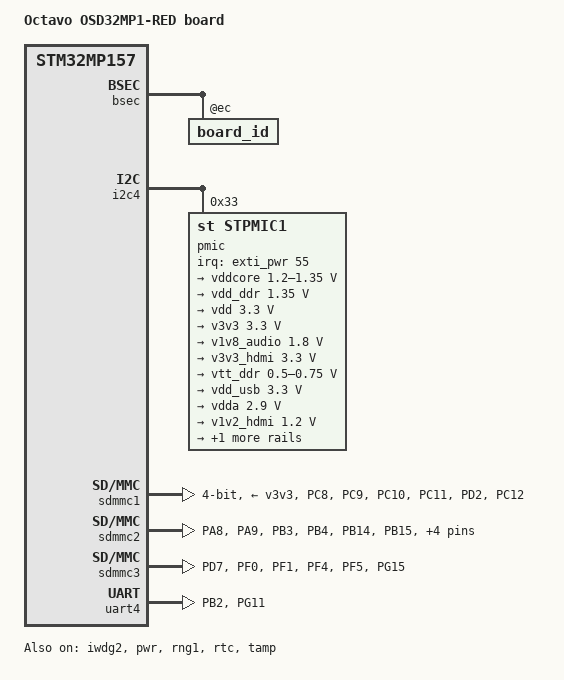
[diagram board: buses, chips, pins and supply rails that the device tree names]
/* SPDX-License-Identifier: (GPL-2.0+ OR BSD-3-Clause) */
/*
 * Copyright (C) STMicroelectronics 2020 - All Rights Reserved
 * Author: STM32CubeMX code generation for STMicroelectronics.
 */

/* For more information on Device Tree configuration, please refer to
 * https://wiki.st.com/stm32mpu/wiki/Category:Device_tree_configuration
 */

/dts-v1/;
#include <dt-bindings/clock/stm32mp1-clksrc.h>
#include "stm32mp15-osd32mp1-ddr3-1x4Gb-1066-binG.dtsi"

#include "stm32mp157c.dtsi"
#include "stm32mp157cac-pinctrl.dtsi"
#include "stm32mp15-ddr.dtsi"
#include "stm32mp157c-security.dtsi"
#include <dt-bindings/power/stm32mp1-power.h>


/ {
	model = "Octavo OSD32MP1-RED board";
	compatible = "octavo,osd32mp1-red", "st,stm32mp157";


	chosen {
		stdout-path = "serial0:115200n8";
	};

	aliases {
		serial0 = &uart4;
		serial1 = &usart3;
		serial2 = &uart7;
		gpio0 = &gpioa;
		gpio1 = &gpiob;
		gpio2 = &gpioc;
		gpio3 = &gpiod;
		gpio4 = &gpioe;
		gpio5 = &gpiof;
		gpio6 = &gpiog;
		gpio7 = &gpioh;
		gpio8 = &gpioi;
		gpio25 = &gpioz;
		i2c3 = &i2c4;
	};


	clocks {



		clk_lse: clk-lse {
			st,drive = < LSEDRV_MEDIUM_HIGH >;



		};

		clk_hse: clk-hse {
			st,digbypass;



		};
	};

}; /*root*/

&pinctrl {
	sdmmc1_pins_mx: sdmmc1_mx-0 {
		pins1 {
			pinmux = <STM32_PINMUX('C', 8, AF12)>, /* SDMMC1_D0 */
					 <STM32_PINMUX('C', 9, AF12)>, /* SDMMC1_D1 */
					 <STM32_PINMUX('C', 10, AF12)>, /* SDMMC1_D2 */
					 <STM32_PINMUX('C', 11, AF12)>, /* SDMMC1_D3 */
					 <STM32_PINMUX('D', 2, AF12)>; /* SDMMC1_CMD */
			bias-disable;
			drive-push-pull;
			slew-rate = <1>;
		};
		pins2 {
			pinmux = <STM32_PINMUX('C', 12, AF12)>; /* SDMMC1_CK */
			bias-disable;
			drive-push-pull;
			slew-rate = <3>;
		};
	};

	sdmmc2_pins_mx: sdmmc2_mx-0 {
		pins1 {
			pinmux = <STM32_PINMUX('A', 8, AF9)>, /* SDMMC2_D4 */
					 <STM32_PINMUX('A', 9, AF10)>, /* SDMMC2_D5 */
					 <STM32_PINMUX('B', 3, AF9)>, /* SDMMC2_D2 */
					 <STM32_PINMUX('B', 4, AF9)>, /* SDMMC2_D3 */
					 <STM32_PINMUX('B', 14, AF9)>, /* SDMMC2_D0 */
					 <STM32_PINMUX('B', 15, AF9)>, /* SDMMC2_D1 */
					 <STM32_PINMUX('C', 7, AF10)>, /* SDMMC2_D7 */
					 <STM32_PINMUX('E', 5, AF9)>, /* SDMMC2_D6 */
					 <STM32_PINMUX('G', 6, AF10)>; /* SDMMC2_CMD */
			bias-pull-up;
			drive-push-pull;
			slew-rate = <1>;
		};
		pins2 {
			pinmux = <STM32_PINMUX('E', 3, AF9)>; /* SDMMC2_CK */
			bias-pull-up;
			drive-push-pull;
			slew-rate = <2>;
		};
	};

	sdmmc3_pins_mx: sdmmc3_mx-0 {
		pins1 {
			pinmux = <STM32_PINMUX('D', 7, AF10)>, /* SDMMC3_D3 */
					 <STM32_PINMUX('F', 0, AF9)>, /* SDMMC3_D0 */
					 <STM32_PINMUX('F', 1, AF9)>, /* SDMMC3_CMD */
					 <STM32_PINMUX('F', 4, AF9)>, /* SDMMC3_D1 */
					 <STM32_PINMUX('F', 5, AF9)>; /* SDMMC3_D2 */
			bias-disable;
			drive-push-pull;
			slew-rate = <1>;
		};
		pins2 {
			pinmux = <STM32_PINMUX('G', 15, AF10)>; /* SDMMC3_CK */
			bias-disable;
			drive-push-pull;
			slew-rate = <2>;
		};
	};

	uart4_pins_mx: uart4_mx-0 {
		pins1 {
			pinmux = <STM32_PINMUX('B', 2, AF8)>; /* UART4_RX */
			bias-disable;
		};
		pins2 {
			pinmux = <STM32_PINMUX('G', 11, AF6)>; /* UART4_TX */
			bias-disable;
			drive-push-pull;
			slew-rate = <0>;
		};
	};



};

&pinctrl_z {
	i2c4_pins_z_mx: i2c4_mx-0 {
		pins {
			pinmux = <STM32_PINMUX('Z', 4, AF6)>, /* I2C4_SCL */
			         <STM32_PINMUX('Z', 5, AF6)>; /* I2C4_SDA */
			bias-disable;
			drive-open-drain;
			slew-rate = <0>;
		};
	};



};

&rcc {
	st,csi-cal;
	st,hsi-cal;
	st,cal-sec = <60>;
	st,clksrc = <
		CLK_MPU_PLL1P
		CLK_AXI_PLL2P
		CLK_MCU_PLL3P
		CLK_PLL12_HSE
		CLK_PLL3_HSE
		CLK_PLL4_HSE
		CLK_RTC_LSE
		CLK_MCO1_DISABLED
		CLK_MCO2_DISABLED
	>;
	st,clkdiv = <
		1 		/*MPU*/
		0 		/*AXI*/
		0 		/*MCU*/
		1 		/*APB1*/
		1 		/*APB2*/
		1 		/*APB3*/
		1 		/*APB4*/
		2 		/*APB5*/
		23 		/*RTC*/
		0 		/*MCO1*/
		0 		/*MCO2*/
	>;
	st,pkcs = <
		CLK_CKPER_HSE
		CLK_ETH_PLL3Q
		CLK_SDMMC12_PLL4P
		CLK_DSI_DSIPLL
		CLK_STGEN_HSE
		CLK_USBPHY_HSE
		CLK_SPI2S1_DISABLED
		CLK_SPI2S23_PLL3Q
		CLK_SPI45_PCLK2
		CLK_SPI6_DISABLED
		CLK_I2C46_HSI
		CLK_SDMMC3_PLL4P
                CLK_USBO_USBPHY
		CLK_ADC_CKPER
		CLK_CEC_DISABLED
		CLK_I2C12_HSI
		CLK_I2C35_PCLK1
		CLK_UART1_DISABLED
		CLK_UART24_HSI
		CLK_UART35_HSI
		CLK_UART6_DISABLED
		CLK_UART78_DISABLED
		CLK_SPDIF_DISABLED
		CLK_SAI1_DISABLED
		CLK_SAI2_CKPER
		CLK_SAI3_DISABLED
		CLK_SAI4_DISABLED
		CLK_RNG1_LSI
		CLK_LPTIM1_DISABLED
		CLK_LPTIM23_DISABLED
		CLK_LPTIM45_DISABLED
	>;
	pll1:st,pll@0 {
		cfg = < 2 80 0 1 1 PQR(1,0,0) >;
		frac = < 0x800>;
	};
	pll2:st,pll@1 {
		cfg = < 2 65 1 0 0 PQR(1,1,1) >;
		frac = < 0x1400>;
	};
	pll3:st,pll@2 {
		cfg = < 1 61 3 5 36 PQR(1,1,0) >;
		frac = < 0x1000 >;
	};
	/* VCO = 594.0 MHz => P = 99, Q = 74, R = 74 */
	pll4: st,pll@3 {
		cfg = < 3 98 5 7 7 PQR(1,1,1) >;
	};
};

&bsec{
	status = "okay";
	secure-status = "okay";


	board_id: board_id@ec {
		reg = <0xec 0x4>;
		status = "okay";
		secure-status = "okay";
	};

};

&etzpc{
	st,decprot = <
	/*"Non Secured" peripherals*/
	DECPROT(STM32MP1_ETZPC_DCMI_ID, DECPROT_NS_RW, DECPROT_UNLOCK)
	DECPROT(STM32MP1_ETZPC_ETH_ID, DECPROT_NS_RW, DECPROT_UNLOCK)
	DECPROT(STM32MP1_ETZPC_I2C1_ID, DECPROT_NS_RW, DECPROT_UNLOCK)
	DECPROT(STM32MP1_ETZPC_I2C2_ID, DECPROT_NS_RW, DECPROT_UNLOCK)
	DECPROT(STM32MP1_ETZPC_I2C4_ID, DECPROT_NS_RW, DECPROT_UNLOCK)
	DECPROT(STM32MP1_ETZPC_I2C5_ID, DECPROT_NS_RW, DECPROT_UNLOCK)
	DECPROT(STM32MP1_ETZPC_SPI2_ID, DECPROT_NS_RW, DECPROT_UNLOCK)
	DECPROT(STM32MP1_ETZPC_RNG1_ID, DECPROT_NS_RW, DECPROT_UNLOCK)
	DECPROT(STM32MP1_ETZPC_SAI2_ID, DECPROT_NS_RW, DECPROT_UNLOCK)
	DECPROT(STM32MP1_ETZPC_SDMMC3_ID, DECPROT_NS_RW, DECPROT_UNLOCK)
	DECPROT(STM32MP1_ETZPC_DLYBSD3_ID, DECPROT_NS_RW, DECPROT_UNLOCK)
	DECPROT(STM32MP1_ETZPC_SPI5_ID, DECPROT_NS_RW, DECPROT_UNLOCK)
	DECPROT(STM32MP1_ETZPC_TIM5_ID, DECPROT_NS_RW, DECPROT_UNLOCK)
	DECPROT(STM32MP1_ETZPC_UART4_ID, DECPROT_NS_RW, DECPROT_UNLOCK)
	DECPROT(STM32MP1_ETZPC_USART2_ID, DECPROT_NS_RW, DECPROT_UNLOCK)

	/*Restriction: following IDs are not managed  - please to use User-Section if needed:
		STM32MP1_ETZPC_DMA1_ID, STM32MP1_ETZPC_DMA2_ID, STM32MP1_ETZPC_DMAMUX_ID,
		STM32MP1_ETZPC_SRAMx_ID, STM32MP1_ETZPC_RETRAM_ID, STM32MP1_ETZPC_BKPSRAM_ID*/


		/*STM32CubeMX generates a basic and standard configuration for ETZPC.
		Additional device configurations can be added here if needed.
		"etzpc" node could be also overloaded in "addons" User-Section.*/

	>;

	secure-status = "okay";



};

&i2c4{
	pinctrl-names = "default";
	pinctrl-0 = <&i2c4_pins_z_mx>;
	status = "okay";
	secure-status = "okay";


	i2c-scl-rising-time-ns = <185>;
	i2c-scl-falling-time-ns = <20>;

	pmic: stpmic@33 {
		compatible = "st,stpmic1";
		reg = <0x33>;
		interrupts-extended = <&exti_pwr 55 IRQ_TYPE_EDGE_FALLING>;
		interrupt-controller;
		#interrupt-cells = <2>;
		status = "okay";

		st,main-control-register = <0x04>;
		st,vin-control-register = <0xc0>;
		st,usb-control-register = <0x20>;

		regulators {
			compatible = "st,stpmic1-regulators";

			ldo1-supply = <&v3v3>;
			ldo3-supply = <&vdd_ddr>;
			ldo6-supply = <&v3v3>;

			vddcore: buck1 {
				regulator-name = "vddcore";
				regulator-min-microvolt = <1200000>;
				regulator-max-microvolt = <1350000>;
				regulator-always-on;
				regulator-initial-mode = <0>;
				regulator-over-current-protection;
				lp-stop {
					regulator-on-in-suspend;
					regulator-suspend-microvolt = <1200000>;
				};
				standby-ddr-sr {
					regulator-off-in-suspend;
				};
				standby-ddr-off {
					regulator-off-in-suspend;
				};
			};

			vdd_ddr: buck2 {
				regulator-name = "vdd_ddr";
				regulator-min-microvolt = <1350000>;
				regulator-max-microvolt = <1350000>;
				regulator-always-on;
				regulator-initial-mode = <0>;
				regulator-over-current-protection;
				lp-stop {
					regulator-suspend-microvolt = <1350000>;
					regulator-on-in-suspend;
				};
				standby-ddr-sr {
					regulator-suspend-microvolt = <1350000>;
					regulator-on-in-suspend;
				};
				standby-ddr-off {
					regulator-off-in-suspend;
				};
			};

			vdd: buck3 {
				regulator-name = "vdd";
				regulator-min-microvolt = <3300000>;
				regulator-max-microvolt = <3300000>;
				regulator-always-on;
				st,mask-reset;
				regulator-initial-mode = <0>;
				regulator-over-current-protection;
				lp-stop {
					regulator-suspend-microvolt = <3300000>;
					regulator-on-in-suspend;
				};
				standby-ddr-sr {
					regulator-suspend-microvolt = <3300000>;
					regulator-on-in-suspend;
				};
				standby-ddr-off {
					regulator-suspend-microvolt = <3300000>;
					regulator-on-in-suspend;
				};
			};

			v3v3: buck4 {
				regulator-name = "v3v3";
				regulator-min-microvolt = <3300000>;
				regulator-max-microvolt = <3300000>;
				regulator-always-on;
				regulator-over-current-protection;
				regulator-initial-mode = <0>;
				lp-stop {
					regulator-suspend-microvolt = <3300000>;
					regulator-on-in-suspend;
				};
				standby-ddr-sr {
					regulator-off-in-suspend;
				};
				standby-ddr-off {
					regulator-off-in-suspend;
				};
			};

			v1v8_audio: ldo1 {
				regulator-name = "v1v8_audio";
				regulator-min-microvolt = <1800000>;
				regulator-max-microvolt = <1800000>;
				regulator-always-on;
				standby-ddr-sr {
						regulator-off-in-suspend;
					};
					standby-ddr-off {
						regulator-off-in-suspend;
					};
			};

			v3v3_hdmi: ldo2 {
				regulator-name = "v3v3_hdmi";
				regulator-min-microvolt = <3300000>;
				regulator-max-microvolt = <3300000>;
				regulator-always-on;
				standby-ddr-sr {
					regulator-off-in-suspend;
				};
				standby-ddr-off {
					regulator-off-in-suspend;
				};
			};

			vtt_ddr: ldo3 {
				regulator-name = "vtt_ddr";
				regulator-min-microvolt = <500000>;
				regulator-max-microvolt = <750000>;
				regulator-always-on;
				regulator-over-current-protection;
				lp-stop {
					regulator-off-in-suspend;
				};
				standby-ddr-sr {
					regulator-off-in-suspend;
				};
				standby-ddr-off {
					regulator-off-in-suspend;
				};
			};

			vdd_usb: ldo4 {
				regulator-name = "vdd_usb";
				regulator-min-microvolt = <3300000>;
				regulator-max-microvolt = <3300000>;
				standby-ddr-sr {
					regulator-off-in-suspend;
				};
				standby-ddr-off {
					regulator-off-in-suspend;
				};
			};

			vdda: ldo5 {
				regulator-name = "vdda";
				regulator-min-microvolt = <2900000>;
				regulator-max-microvolt = <2900000>;
				regulator-boot-on;
				standby-ddr-sr {
					regulator-off-in-suspend;
				};
				standby-ddr-off {
					regulator-off-in-suspend;
				};
			};

			v1v2_hdmi: ldo6 {
				regulator-name = "v1v2_hdmi";
				regulator-min-microvolt = <1200000>;
				regulator-max-microvolt = <1200000>;
				regulator-always-on;
				standby-ddr-sr {
					regulator-off-in-suspend;
				};
				standby-ddr-off {
					regulator-off-in-suspend;
				};
			};

			vref_ddr: vref_ddr {
				regulator-name = "vref_ddr";
				regulator-always-on;
				regulator-over-current-protection;
				lp-stop {
					regulator-on-in-suspend;
				};
				standby-ddr-sr {
					regulator-on-in-suspend;
				};
				standby-ddr-off {
					regulator-off-in-suspend;
				};
			};
		};
	};

};

&iwdg2{
	status = "okay";
	secure-status = "okay";


	timeout-sec = <32>;

};

&pwr{
	status = "okay";
	secure-status = "okay";


	system_suspend_supported_soc_modes = <
		STM32_PM_CSLEEP_RUN
		STM32_PM_CSTOP_ALLOW_LP_STOP
		STM32_PM_CSTOP_ALLOW_STANDBY_DDR_SR
	>;
	system_off_soc_mode = <STM32_PM_CSTOP_ALLOW_STANDBY_DDR_OFF>;

	pwr-regulators {
		vdd-supply = <&vdd>;
	};

};

&rcc{
	status = "okay";
	secure-status = "okay";



};

&rng1{
	status = "okay";
	secure-status = "okay";



};

&rtc{
	status = "okay";
	secure-status = "okay";



};

&sdmmc1{
	pinctrl-names = "default";
	pinctrl-0 = <&sdmmc1_pins_mx>;
	status = "okay";


	broken-cd;
	st,neg-edge;
	bus-width = <4>;
	vmmc-supply = <&v3v3>;

};

&sdmmc2{
	pinctrl-names = "default";
	pinctrl-0 = <&sdmmc2_pins_mx>;
	status = "okay";



};

&sdmmc3{
	pinctrl-names = "default";
	pinctrl-0 = <&sdmmc3_pins_mx>;
	status = "okay";



};

&tamp{
	status = "okay";
	secure-status = "okay";



};

&uart4{
	pinctrl-names = "default";
	pinctrl-0 = <&uart4_pins_mx>;
	status = "okay";



};


/delete-node/ &qspi_bk1_pins_a;
/delete-node/ &qspi_bk2_pins_a;
/delete-node/ &qspi_clk_pins_a;
/delete-node/ &sdmmc1_b4_pins_a;
/delete-node/ &sdmmc1_dir_pins_a;
/delete-node/ &sdmmc1_dir_pins_b;
/delete-node/ &sdmmc2_b4_pins_a;
/delete-node/ &sdmmc2_d47_pins_a;
/delete-node/ &uart4_pins_a;
/delete-node/ &uart7_pins_a;
/delete-node/ &usart3_pins_a;
/delete-node/ &usart3_pins_b;
/delete-node/ &i2c4_pins_a;


